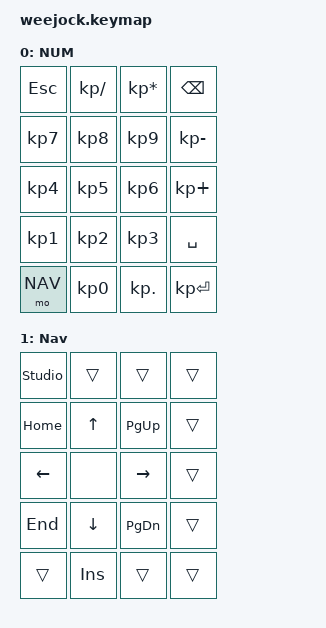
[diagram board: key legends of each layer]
#include <behaviors.dtsi>
#include <dt-bindings/zmk/keys.h>

// Layer numbers
#define NUM 0
#define NAV 1

/ {
  keymap {
    compatible = "zmk,keymap";

    default_layer { // layer 0
      // ,-----------------------.
      // | Esc |  /  |  *  | Bks |
      // |  7  |  8  |  9  |  -  |
      // |  4  |  5  |  6  |  +  |
      // |  1  |  2  |  3  | Spc |
      // | NAV |  0  |  .  | Ent |
      // `-----------------------'
      bindings = <
        &kp ESCAPE  &kp KP_DIVIDE  &kp KP_MULTIPLY  &kp BACKSPACE
        &kp KP_N7   &kp KP_N8      &kp KP_N9        &kp KP_SUBTRACT
        &kp KP_N4   &kp KP_N5      &kp KP_N6        &kp KP_PLUS
        &kp KP_N1   &kp KP_N2      &kp KP_N3        &kp SPACE
        &mo NAV     &kp KP_N0      &kp KP_DOT       &kp KP_ENTER
      >;
      display-name = "NUM";
    };
    navigation_layer { // layer 1
      // ,-----------------------.
      // |STUDI|     |     |     |
      // | Home| Up  | PgUp|     |
      // | Left|XXXXX|Right|     |
      // | End | Down| PgDn|     |
      // |#####| Ins |     |     |
      // `-----------------------'
      bindings = <
        &studio_unlock  &trans    &trans     &trans
        &kp HOME        &kp UP    &kp PG_UP  &trans
        &kp LEFT        &none     &kp RIGHT  &trans
        &kp END         &kp DOWN  &kp PG_DN  &trans
        &trans          &kp INS   &trans     &trans
      >;
      display-name = "Nav";
    };
  };
};
